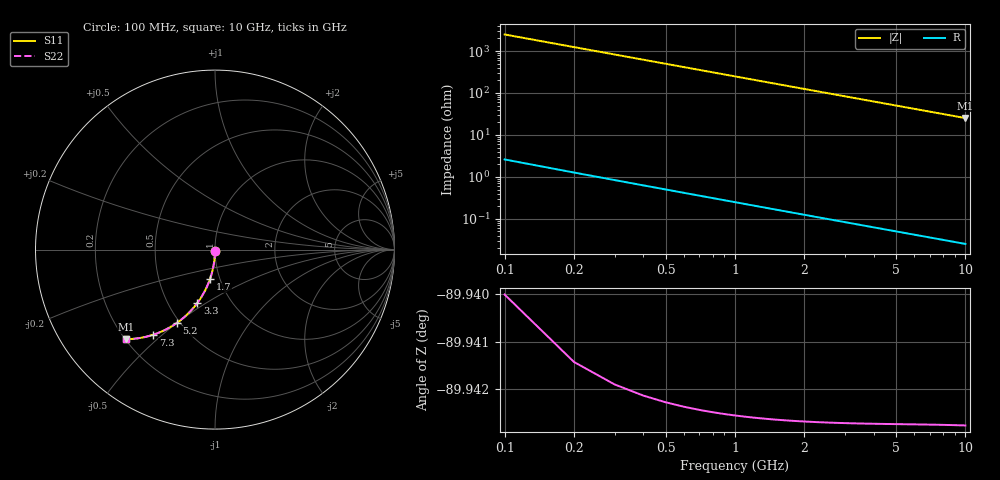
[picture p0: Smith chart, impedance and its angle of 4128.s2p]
# Hz S RI R 50.00
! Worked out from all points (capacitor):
!   100 points, 100 MHz to 10 GHz, reference 50 ohm
!   read as one part in shunt: C = 640 fF near 100 MHz
!   lowest |Z| = 25.2 ohm at 10 GHz (marker M1)
!   S11 on the Smith chart (normalised r, x): 100 MHz: 1.00, -0.02; 1.7 GHz: 0.90, -0.31; 3.3 GHz: 0.70, -0.46; 5.2 GHz: 0.48, -0.50; 7.3 GHz: 0.32, -0.47; 10 GHz: 0.20, -0.40
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1e8  -0.000111 -0.0101  0.9999 -0.0101  0.9999 -0.0101  -0.000111 -0.0101
2e8  -0.000424 -0.0201  0.9996 -0.0201  0.9996 -0.0201  -0.000424 -0.0201
3e8  -0.000939 -0.0301  0.9991 -0.0302  0.9991 -0.0302  -0.000939 -0.0301
4e8  -0.00166 -0.0401  0.9983 -0.0402  0.9983 -0.0402  -0.00166 -0.0401
5e8  -0.00257 -0.0501  0.9974 -0.0502  0.9974 -0.0502  -0.00257 -0.0501
6e8  -0.00368 -0.0601  0.9963 -0.0601  0.9963 -0.0601  -0.00368 -0.0601
8e8  -0.0065 -0.0798  0.9935 -0.0799  0.9935 -0.0799  -0.0065 -0.0798
1.1e9  -0.0122 -0.1091  0.9878 -0.1092  0.9878 -0.1092  -0.0122 -0.1091
1.4e9  -0.0195 -0.1377  0.9805 -0.1378  0.9805 -0.1378  -0.0195 -0.1377
1.7e9  -0.0284 -0.1655  0.9716 -0.1657  0.9716 -0.1657  -0.0284 -0.1655
1.8e9  -0.0317 -0.1746  0.9683 -0.1748  0.9683 -0.1748  -0.0317 -0.1746
2.1e9  -0.0426 -0.2013  0.9574 -0.2014  0.9574 -0.2014  -0.0426 -0.2013
2.5e9  -0.0591 -0.2352  0.9409 -0.2354  0.9409 -0.2354  -0.0591 -0.2352
3.3e9  -0.0982 -0.297  0.9018 -0.2973  0.9018 -0.2973  -0.0982 -0.297
3.4e9  -0.1036 -0.3041  0.8964 -0.3044  0.8964 -0.3044  -0.1036 -0.3041
4.2e9  -0.1494 -0.3558  0.8506 -0.3562  0.8506 -0.3562  -0.1494 -0.3558
5.1e9  -0.2052 -0.4031  0.7948 -0.4036  0.7948 -0.4036  -0.2052 -0.4031
5.2e9  -0.2115 -0.4077  0.7885 -0.4081  0.7885 -0.4081  -0.2115 -0.4077
6.7e9  -0.3073 -0.4606  0.6927 -0.4611  0.6927 -0.4611  -0.3073 -0.4606
7.3e9  -0.3446 -0.4744  0.6554 -0.4751  0.6554 -0.4751  -0.3446 -0.4744
8.4e9  -0.41 -0.491  0.59 -0.4917  0.59 -0.4917  -0.41 -0.491
1e10  -0.4955 -0.499  0.5044 -0.4999  0.5044 -0.4999  -0.4955 -0.499
